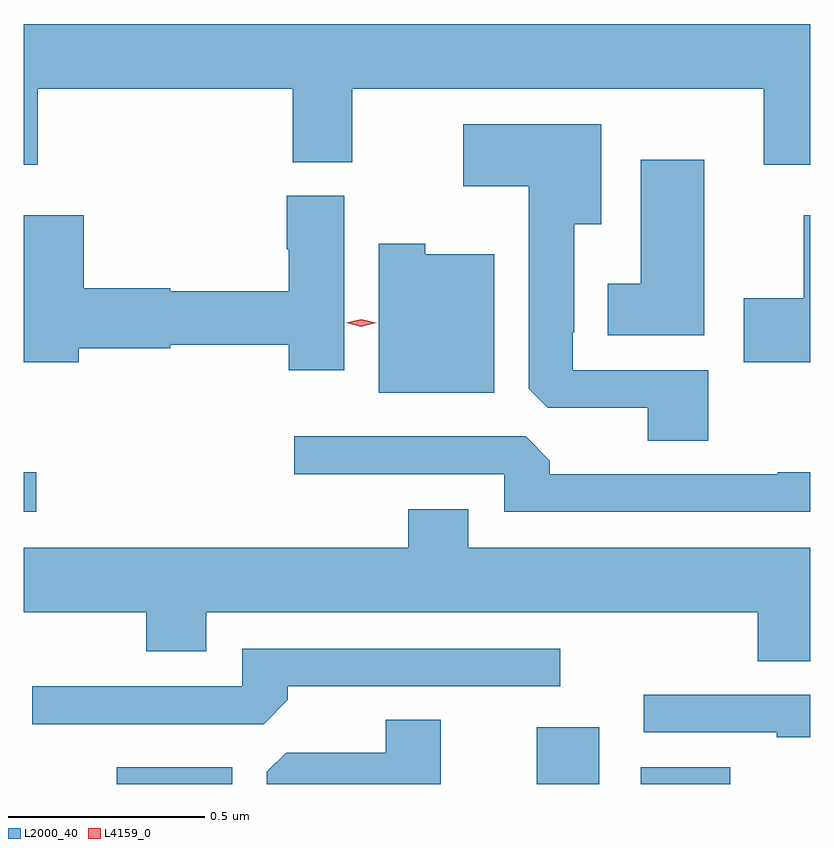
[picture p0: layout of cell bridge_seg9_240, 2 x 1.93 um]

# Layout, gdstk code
import gdstk
lib = gdstk.Library(unit=1e-6, precision=1e-09)
def R(c, l, rs):  # rectangles x0, y0, x1, y1
    for r in rs: c.add(gdstk.rectangle(r[:2], r[2:], *l))
def P(c, l, *ps):  # polygons
    for p in ps: c.add(gdstk.Polygon(p, *l))
L2000_40 = (2000, 40)
L4159_0 = (4159, 0)

bridge_seg9_240 = lib.new_cell('bridge_seg9_240')
R(bridge_seg9_240, L2000_40, [(263.486,1210.636,263.779,1210.678), (264.554,1210.636,264.712,1210.78), (264.818,1210.636,265.045,1210.678), (263.249,1211.328,263.281,1211.429)])
P(bridge_seg9_240, L2000_40, [(263.285,1212.404),(263.933,1212.404),(263.933,1212.217),(264.085,1212.217),(264.085,1212.404),(265.13,1212.404),(265.13,1212.21),(265.249,1212.21),(265.249,1212.568),(263.249,1212.568),(263.249,1212.21),(263.285,1212.21)],
  [(264.989,1211.688),(264.645,1211.688),(264.645,1211.785),(264.649,1211.785),(264.649,1212.059),(264.718,1212.059),(264.718,1212.313),(264.366,1212.313),(264.366,1212.155),(264.533,1212.155),(264.533,1211.641),(264.582,1211.592),(264.836,1211.592),(264.836,1211.509),(264.989,1211.509)],
  [(264.979,1212.223),(264.818,1212.223),(264.818,1211.908),(264.734,1211.908),(264.734,1211.777),(264.979,1211.777)],
  [(264.064,1212.132),(263.918,1212.132),(263.918,1211.996),(263.923,1211.996),(263.923,1211.888),(263.622,1211.888),(263.622,1211.896),(263.402,1211.896),(263.402,1212.082),(263.249,1212.082),(263.249,1211.708),(263.389,1211.708),(263.389,1211.744),(263.622,1211.744),(263.622,1211.752),(263.923,1211.752),(263.923,1211.688),(264.064,1211.688)],
  [(265.249,1212.082),(265.232,1212.082),(265.232,1211.871),(265.08,1211.871),(265.08,1211.708),(265.249,1211.708)],
  [(264.445,1211.983),(264.27,1211.983),(264.27,1212.01),(264.152,1212.01),(264.152,1211.63),(264.445,1211.63)],
  [(265.249,1211.429),(265.166,1211.429),(265.166,1211.424),(264.587,1211.424),(264.587,1211.458),(264.525,1211.52),(263.937,1211.52),(263.937,1211.424),(264.471,1211.424),(264.471,1211.328),(265.249,1211.328)],
  [(265.249,1211.236),(264.379,1211.236),(264.379,1211.335),(264.227,1211.335),(264.227,1211.236),(263.249,1211.236),(263.249,1211.072),(263.561,1211.072),(263.561,1210.973),(263.713,1210.973),(263.713,1211.072),(265.115,1211.072),(265.115,1210.948),(265.249,1210.948)],
  [(263.921,1210.85),(263.921,1210.884),(264.613,1210.884),(264.613,1210.98),(263.805,1210.98),(263.805,1210.884),(263.271,1210.884),(263.271,1210.788),(263.859,1210.788)],
  [(265.249,1210.863),(264.825,1210.863),(264.825,1210.767),(265.163,1210.767),(265.163,1210.755),(265.249,1210.755)],
  [(264.31,1210.799),(264.17,1210.799),(264.17,1210.716),(263.916,1210.716),(263.867,1210.667),(263.867,1210.636),(264.31,1210.636)])
P(bridge_seg9_240, L4159_0, [(264.107,1211.799),(264.069,1211.808),(264.069,1211.808),(264.069,1211.808),(264.107,1211.818),(264.145,1211.809),(264.145,1211.809),(264.145,1211.809)])

lib.write_gds('bridge_seg9_240.gds')
